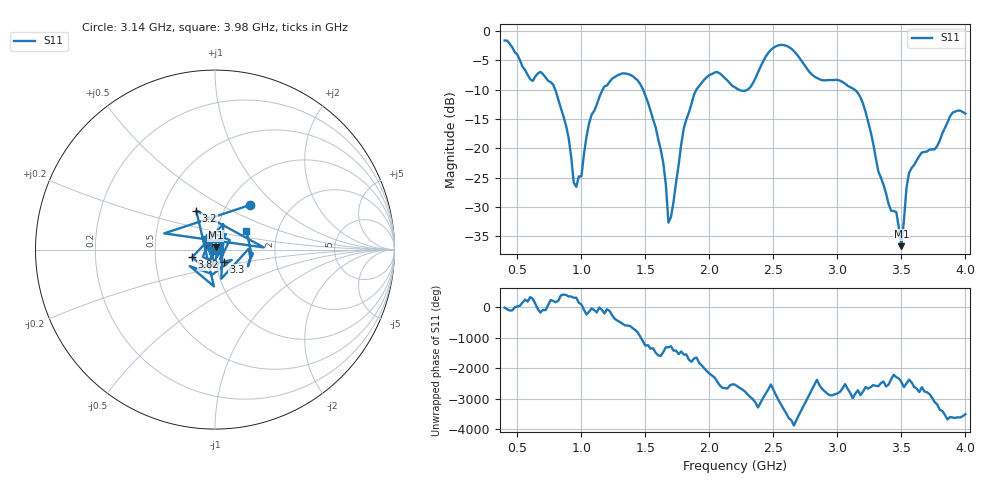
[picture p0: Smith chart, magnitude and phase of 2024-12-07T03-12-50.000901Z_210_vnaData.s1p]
!Created with skrf (http://scikit-rf.org).
# Hz S RI R 50.0
!freq ReS11 ImS11
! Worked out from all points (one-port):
!   181 points, 400 MHz to 4 GHz, reference 50 ohm
!   lowest |S11| = -36.7 dB at 3.5 GHz (marker M1), VSWR 1.03, Z = 50.4 + j1.4 ohm
!   |S11| at or under -10 dB: 795.5 MHz to 1.166 GHz (370.2 MHz wide, 37.8 % of centre); 1.482 GHz to 1.898 GHz (415.7 MHz wide, 24.6 % of centre); 3.135 GHz to end of sweep (the widest 3 of 4)
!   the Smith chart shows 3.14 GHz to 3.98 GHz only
!   S11 on the Smith chart (normalised r, x): 3.14 GHz: 1.26, +0.69; 3.2 GHz: 0.74, +0.34; 3.3 GHz: 1.09, -0.15; 3.82 GHz: 0.77, -0.07; 3.98 GHz: 1.38, +0.31
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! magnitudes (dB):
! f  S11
! 400 MHz  -1.6
! 600 MHz  -8.2
! 780 MHz  -9.1
! 860 MHz  -14.6
! 960 MHz  -26.6
! 1.08 GHz  -14.2
! 1.3 GHz  -7.4
! 1.52 GHz  -12.2
! 1.64 GHz  -22.6
! 1.68 GHz  -32.7
! 1.76 GHz  -22.8
! 1.8 GHz  -16.6
! 1.9 GHz  -9.9
! 2.06 GHz  -7.0
! 2.2 GHz  -9.6
! 2.32 GHz  -9.6
! 2.5 GHz  -2.8
! 2.66 GHz  -3.4
! 3.1 GHz  -9.6
! 3.14 GHz  -10.1
! 3.2 GHz  -12.3
! 3.3 GHz  -21.6
! 3.46 GHz  -30.9
! 3.5 GHz  -36.7
! 3.56 GHz  -24.2
! 3.82 GHz  -17.4
! 3.98 GHz  -13.8
! 4 GHz  -14.1
